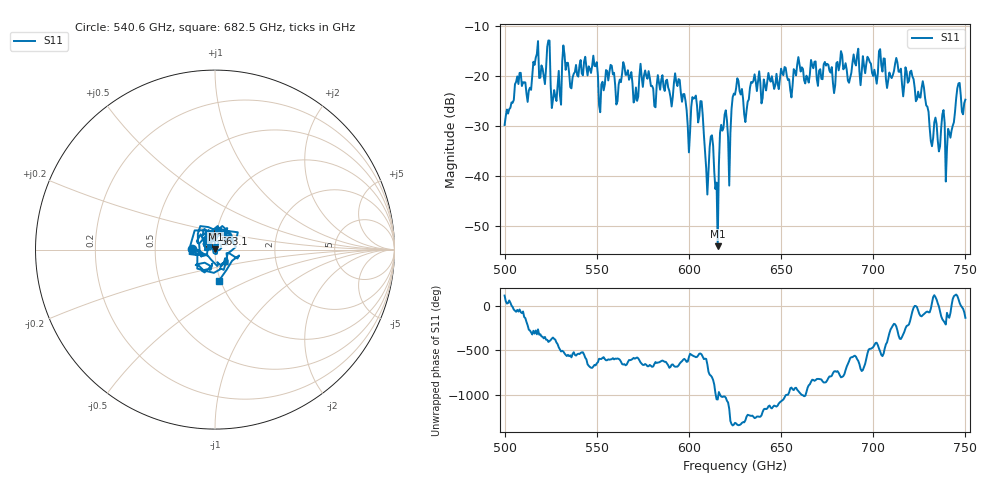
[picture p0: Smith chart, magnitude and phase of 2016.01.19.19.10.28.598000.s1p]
!Created with skrf (http://scikit-rf.org).
# GHz S RI R 50.0
!freq ReS11 ImS11
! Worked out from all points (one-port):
!   401 points, 500 GHz to 750 GHz, reference 50 ohm
!   lowest |S11| = -54.1 dB at 615.6 GHz (marker M1), VSWR 1.00, Z = 50.2 + j0.0931 ohm
!   |S11| at or under -10 dB: start of sweep to end of sweep
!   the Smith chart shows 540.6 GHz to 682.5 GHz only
!   S11 on the Smith chart (normalised r, x): 540.6 GHz: 0.77, +0.01; 563.1 GHz: 0.98, +0.17; 682.5 GHz: 0.98, -0.36
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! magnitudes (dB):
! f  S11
! 500 GHz  -29.8
! 507.5 GHz  -21.6
! 513.1 GHz  -22.9
! 516.9 GHz  -16.4
! 523.8 GHz  -12.9
! 526.9 GHz  -22.8
! 531.2 GHz  -17.2
! 540.6 GHz  -17.9
! 562.5 GHz  -20.7
! 563.1 GHz  -21.2
! 593.8 GHz  -22.0
! 599.4 GHz  -30.1
! 606.9 GHz  -25.1
! 609.4 GHz  -38.5
! 612.5 GHz  -31.9
! 615.6 GHz  -54.1
! 618.1 GHz  -30.9
! 621.9 GHz  -41.9
! 625 GHz  -23.7
! 631.2 GHz  -27.0
! 635 GHz  -21.0
! 656.2 GHz  -21.8
! 682.5 GHz  -15.0
! 687.5 GHz  -20.3
! 718.8 GHz  -21.4
! 740.6 GHz  -30.6
! 746.2 GHz  -21.5
! 750 GHz  -24.7
